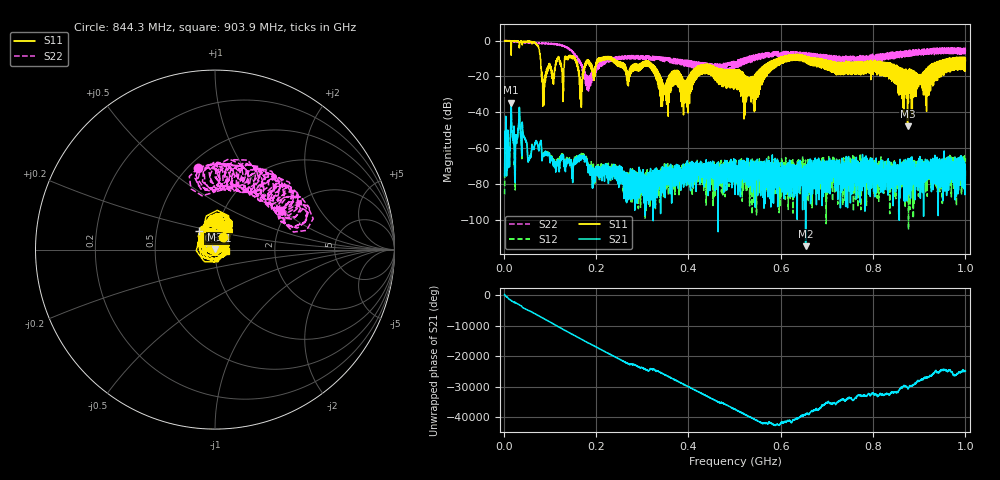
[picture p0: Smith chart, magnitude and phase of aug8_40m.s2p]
!Keysight Technologies N9923A: A.12.45
!Date: Friday, 08 August 2025 18:00:34
!Timezone: (UTC+08:00) Kuala Lumpur, Singapore
!Model: N9923A
!Serial: MY61181427
!GPS Latitude:
!GPS Longitude:
!GPS TimeStamp: 0001-01-01 00:00:00Z
!GPS Seconds Since Last Read: 0
!CHECKSUM:0293324528
!Correction: S11(ON U)S21(ON U)S12(ON U)S22(ON U)
!S2P File: Measurements:S11,S21,S12,S22:
# Hz S DB R 50
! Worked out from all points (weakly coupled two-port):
!   4001 points, 2 MHz to 1 GHz, reference 50 ohm
!   highest |S21| = -34.63 dB at 16.22 MHz (marker M1); lowest = -114.7 dB at 653.9 MHz (marker M2)
!   lowest |S11| = -47.9 dB at 874.8 MHz (marker M3), VSWR 1.01, Z = 49.7 + j0.315 ohm
!   |S11| at or under -10 dB: 155.2 MHz to 205.8 MHz (50.62 MHz wide, 28 % of centre); 237.5 MHz to 592.8 MHz (355.3 MHz wide, 85.6 % of centre); 684.1 MHz to 964 MHz (279.9 MHz wide, 34 % of centre) (the widest 3 of 108)
!   |S22| runs from -28.1 to 0.1 dB; largest |S21 - S12| = 0.0012
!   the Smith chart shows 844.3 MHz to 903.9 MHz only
!   S11 on the Smith chart (normalised r, x): 844.3 MHz: 1.08, +0.16; 881 MHz: 0.82, +0.17; 903.9 MHz: 1.13, -0.02
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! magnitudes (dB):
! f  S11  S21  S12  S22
! 2 MHz  -0.1  -75.5  -85.8  0.0
! 16.22 MHz  -8.2  -34.6  -34.6  -0.6
! 36.93 MHz  -0.5  -53.6  -53.7  -0.7
! 55.64 MHz  -0.4  -65.4  -65.6  -1.0
! 70.86 MHz  -2.0  -55.9  -55.6  -1.2
! 86.83 MHz  -36.1  -63.3  -62.7  -1.7
! 145.2 MHz  -8.4  -66.9  -66.9  -5.7
! 168.4 MHz  -35.6  -64.5  -63.0  -14.0
! 183.6 MHz  -11.3  -70.5  -71.3  -28.1
! 222.6 MHz  -9.0  -72.1  -68.6  -10.9
! 334.8 MHz  -18.9  -79.9  -72.8  -11.4
! 348.3 MHz  -30.0  -74.6  -67.9  -11.8
! 501 MHz  -16.0  -66.4  -74.2  -15.7
! 539.9 MHz  -23.1  -71.2  -67.4  -10.7
! 653.9 MHz  -9.4  -114.7  -78.2  -8.1
! 667.4 MHz  -10.1  -74.4  -80.7  -8.3
! 833.8 MHz  -19.2  -73.1  -78.0  -7.9
! 844.3 MHz  -21.5  -70.8  -84.2  -6.7
! 874.8 MHz  -47.9  -72.4  -70.0  -5.7
! 881 MHz  -17.4  -71.3  -69.2  -6.7
! 903.9 MHz  -24.5  -78.8  -75.9  -7.5
! 1 GHz  -11.3  -72.9  -65.7  -6.1
